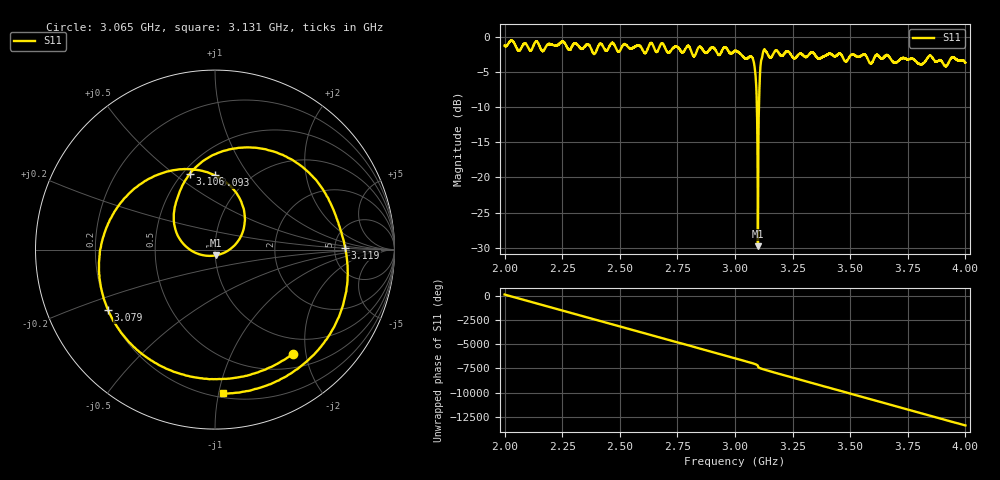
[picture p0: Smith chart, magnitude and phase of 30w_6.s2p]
!Agilent Technologies,E8362B,MY43021131,A.07.50.67
!Agilent E8362B: A.07.50.67
!Date: Thursday, March 14, 2024 14:51:48
!Correction: S11(Off)
!S21(Off)
!S12(Off)
!S22(Off)
!S2P File: Measurements: S11, S21, S12, S22:
# Hz S  RI  R 50
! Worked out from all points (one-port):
!   20001 points, 2 GHz to 4 GHz, reference 50 ohm
!   lowest |S11| = -29.8 dB at 3.099 GHz (marker M1), VSWR 1.07, Z = 50.3 - j3.24 ohm
!   |S11| at or under -10 dB: 3.095056 GHz to 3.103778 GHz (8.722 MHz wide, 0.281 % of centre)
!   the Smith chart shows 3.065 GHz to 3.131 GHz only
!   S11 on the Smith chart (normalised r, x): 3.065 GHz: 0.73, -1.77; 3.079 GHz: 0.20, -0.25; 3.093 GHz: 0.70, +0.70; 3.106 GHz: 0.54, +0.57; 3.119 GHz: 6.28, +0.30; 3.131 GHz: 0.23, -1.03
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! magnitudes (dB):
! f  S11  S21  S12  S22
! 2 GHz  -1.3  -  -  -
! 2.139 GHz  -0.7  -  -  -
! 2.166 GHz  -2.0  -  -  -
! 2.251 GHz  -0.7  -  -  -
! 2.333 GHz  -1.7  -  -  -
! 2.667 GHz  -1.9  -  -  -
! 3 GHz  -2.0  -  -  -
! 3.065 GHz  -2.8  -  -  -
! 3.079 GHz  -3.3  -  -  -
! 3.087 GHz  -4.7  -  -  -
! 3.093 GHz  -7.7  -  -  -
! 3.099 GHz  -29.8  -  -  -
! 3.106 GHz  -7.0  -  -  -
! 3.112 GHz  -3.7  -  -  -
! 3.119 GHz  -2.8  -  -  -
! 3.131 GHz  -1.9  -  -  -
! 3.333 GHz  -2.2  -  -  -
! 3.481 GHz  -3.5  -  -  -
! 3.56 GHz  -2.5  -  -  -
! 3.589 GHz  -3.8  -  -  -
! 3.667 GHz  -2.7  -  -  -
! 4 GHz  -3.7  -  -  -
